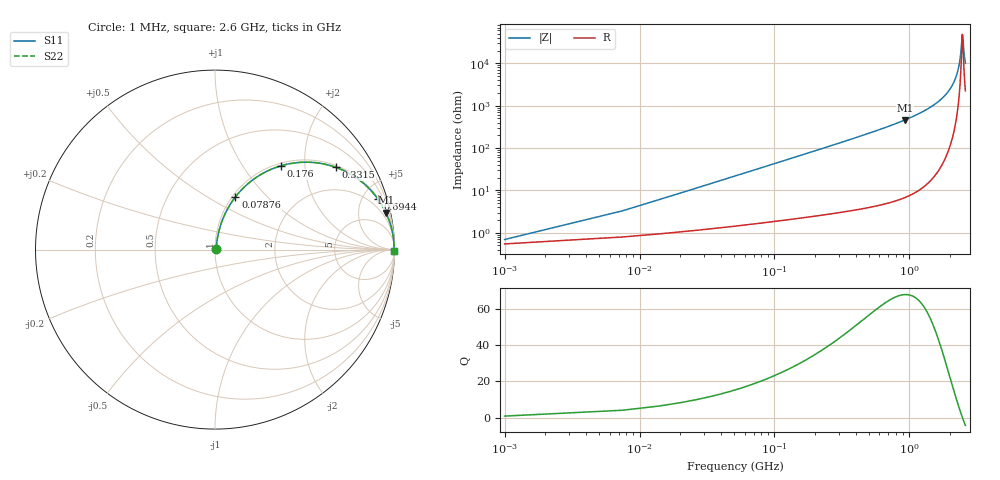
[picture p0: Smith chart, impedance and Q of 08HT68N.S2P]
! Coilcraft 0805HT-68N Chip Inductor
! 24 June 2002
# MHZ S MA R 50
!Freq  MagS11  AngS11  MagS21  AngS21  MagS12  AngS12  MagS22  AngS22
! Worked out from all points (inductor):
!   403 points, 1 MHz to 2.6 GHz, reference 50 ohm
!   read as one part in series: L = 68 nH near 13.96 MHz
!   highest Q = 68.1 at 927.6 MHz (marker M1), where L = 79.1 nH
!   self-resonance near 2.47 GHz
!   S11 on the Smith chart (normalised r, x): 1 MHz: 1.01, +0.01; 78.76 MHz: 1.03, +0.67; 176 MHz: 1.05, +1.51; 331.5 MHz: 1.06, +2.88; 694.4 MHz: 1.10, +6.44; 2.6 GHz: open
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1  0.00688 37.9  0.9946 -0.2  0.9946 -0.2  0.00688 37.9
20.44  0.08673 78.2  0.9859 -4.9  0.9859 -4.9  0.08673 78.2
26.92  0.1136 77.8  0.9823 -6.5  0.9823 -6.5  0.1136 77.8
46.36  0.1923 75.0  0.9681 -11.1  0.9681 -11.1  0.1923 75.0
78.76  0.3149 68.8  0.9336 -18.3  0.9336 -18.3  0.3149 68.8
175.96  0.5943 51.8  0.7861 -36.4  0.7861 -36.4  0.5943 51.8
331.48  0.8136 34.3  0.564 -54.4  0.564 -54.4  0.8136 34.3
435.16  0.8801 27.3  0.4586 -61.6  0.4586 -61.6  0.8801 27.3
694.36  0.9509 17.2  0.2952 -71.9  0.2952 -71.9  0.9509 17.2
869.32  0.9701 13.2  0.2288 -75.9  0.2288 -75.9  0.9701 13.2
927.64  0.9744 12.2  0.2112 -77.0  0.2112 -77.0  0.9744 12.2
1303.48  0.9896 7.4  0.1283 -81.7  0.1283 -81.7  0.9896 7.4
1737.64  0.9959 3.9  0.06784 -84.6  0.06784 -84.6  0.9959 3.9
1990.36  0.9973 2.4  0.04124 -85.1  0.04124 -85.1  0.9973 2.4
2171.8  0.9978 1.4  0.02456 -84.2  0.02456 -84.2  0.9978 1.4
2269  0.9979 0.9  0.01628 -82.2  0.01628 -82.2  0.9979 0.9
2346.76  0.998 0.6  0.009982 -78.0  0.009982 -78.0  0.998 0.6
2398.6  0.998 0.3  0.006 -70.0  0.006 -70.0  0.998 0.3
2469.88  0.9979 0.0  0.002075 -3.2  0.002075 -3.2  0.9979 0.0
2489.32  0.9979 -0.1  0.002494 33.1  0.002494 33.1  0.9979 -0.1
2547.64  0.9978 -0.3  0.006126 69.3  0.006126 69.3  0.9978 -0.3
2600  0.9978 -0.5  0.009833 76.6  0.009833 76.6  0.9978 -0.5
